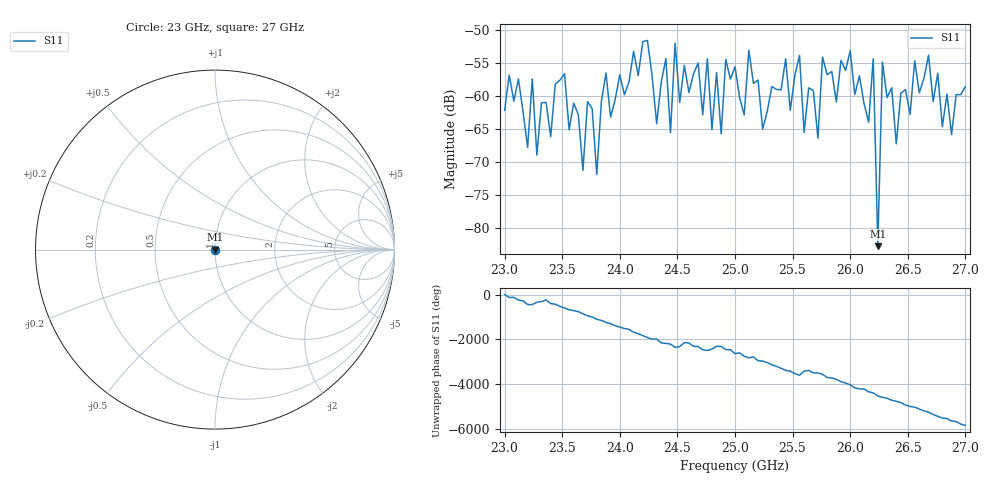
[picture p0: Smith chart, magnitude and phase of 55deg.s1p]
#  HZ  S  RI  R  50.00
! Rohde & Schwarz ZVA40 4Ports - Version 3.90 - 1145.1110k42 SN: 100403
! Date: 2023-09-26 11:09:58
! Measurement: S12
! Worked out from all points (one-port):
!   101 points, 23 GHz to 27 GHz, reference 50 ohm
!   lowest |S11| = -82.8 dB at 26.24 GHz (marker M1), VSWR 1.00, Z = 50 + j0.0041 ohm
!   |S11| at or under -10 dB: start of sweep to end of sweep
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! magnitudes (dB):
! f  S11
! 23 GHz  -62.2
! 23.2 GHz  -67.8
! 23.24 GHz  -57.4
! 23.28 GHz  -68.9
! 23.52 GHz  -56.6
! 23.8 GHz  -71.9
! 23.88 GHz  -56.5
! 24 GHz  -56.7
! 24.24 GHz  -51.5
! 24.32 GHz  -64.2
! 24.4 GHz  -54.3
! 24.44 GHz  -65.6
! 24.48 GHz  -51.9
! 24.52 GHz  -61.0
! 24.76 GHz  -54.3
! 24.88 GHz  -65.7
! 25 GHz  -55.5
! 25.24 GHz  -65.0
! 25.52 GHz  -56.8
! 25.72 GHz  -66.4
! 25.76 GHz  -54.1
! 26 GHz  -53.1
! 26.16 GHz  -64.0
! 26.2 GHz  -54.3
! 26.24 GHz  -82.8
! 26.28 GHz  -54.8
! 26.52 GHz  -62.8
! 27 GHz  -58.5
